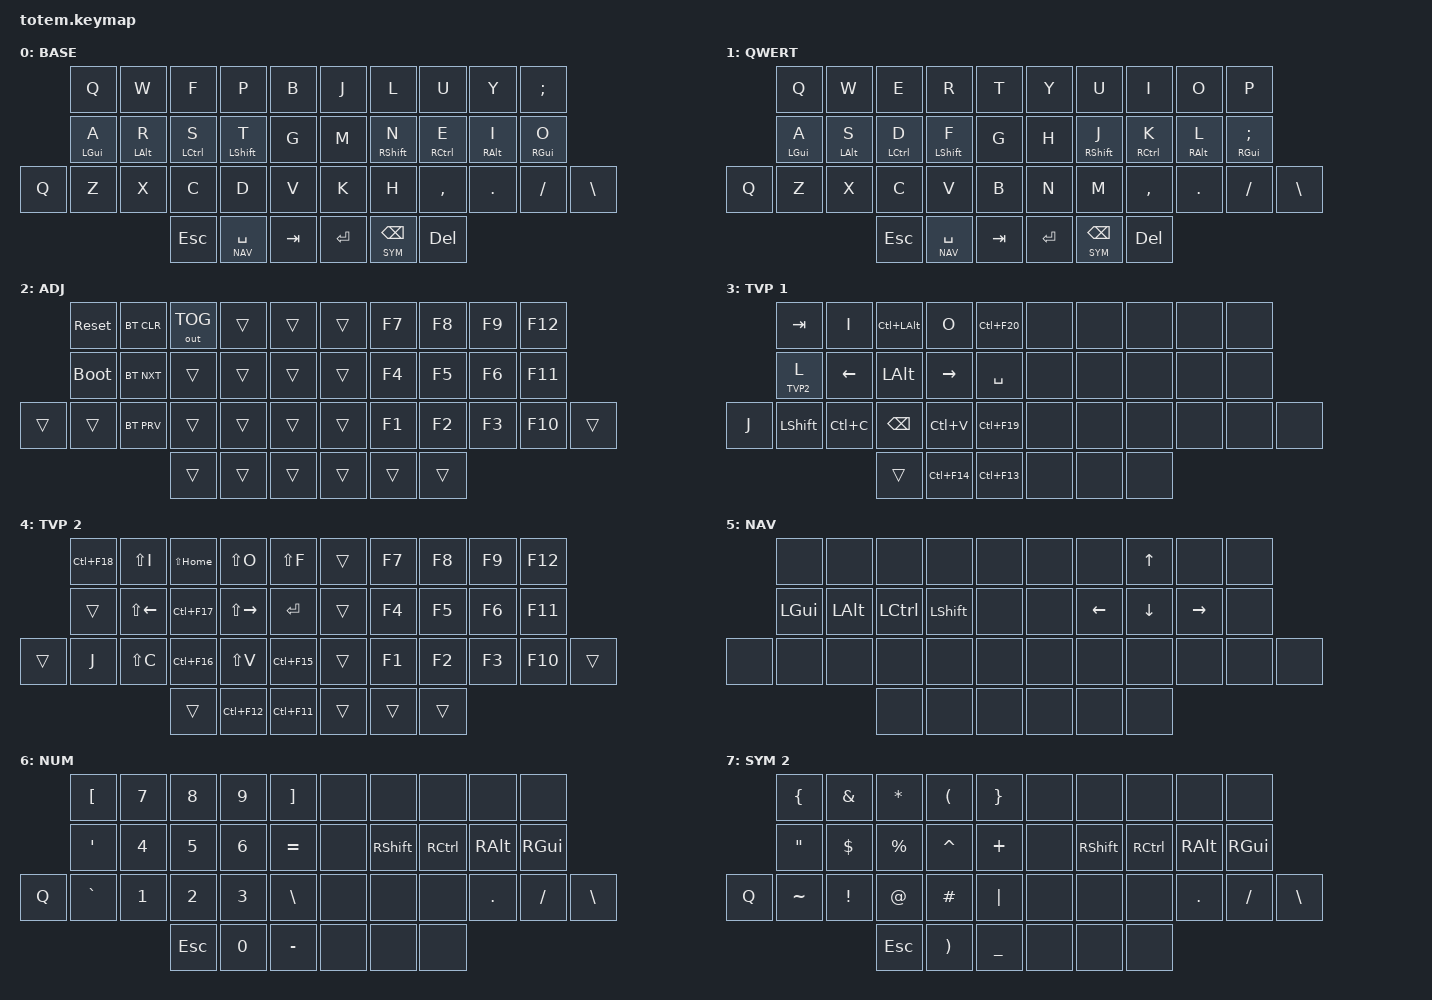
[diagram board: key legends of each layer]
//
//                                                        ▀▀▀▀▀     ▀▀▀▀▀          ▀▀█▀▀
//                                                        ▄▀▀▀▄  ▄  ▄▀▀▀▄  ▄  ▄▀▀▀▄  █  ▄▀▀▀▄
//                                                        █   █  █  █   █  █  █   █  █  █   █
//                                                         ▀▀▀   █   ▀▀▀   █   ▀▀▀   ▀   ▀▀▀
//                                                               █      ▄▄▄█▄▄▄    █   █  
//                                                               ▀      █  █  █     █▄█
//                                                             ▀▀▀▀▀    █  █  █      ▀
//                                                                      ▀  ▀  ▀
//
// ▄▄▄▄▄▄▄▄▄▄▄▄▄▄▄▄▄▄▄▄▄▄▄▄▄▄▄▄▄▄▄▄▄▄▄▄▄▄▄▄▄▄▄▄▄▄▄▄▄▄▄▄▄▄▄▄▄▄▄▄▄▄▄▄▄▄▄▄▄▄▄▄▄▄▄▄▄▄▄▄▄▄▄▄▄▄▄▄▄▄▄▄▄▄▄▄▄▄▄▄▄▄▄▄▄▄▄▄▄▄▄▄▄▄▄▄▄▄▄▄▄▄▄▄▄▄▄▄▄▄▄▄▄▄▄▄▄▄▄▄▄▄▄▄▄▄▄▄▄
       

#include <behaviors.dtsi>
#include <dt-bindings/zmk/keys.h>
#include <dt-bindings/zmk/bt.h>
#include <dt-bindings/zmk/outputs.h>

#define BASE 0
#define QWERT  1
#define ADJ  3
#define TVP1 4
#define TVP2 5
#define NAI  12
#define SYM2 13
#define NUM  14

&mt {
  quick-tap-ms = <100>;
  global-quick-tap;
  flavor = "tap-preferred";
  tapping-term-ms = <170>;
};

/ {
     combos {
            compatible = "zmk,combos";
            combo_esc {
                timeout-ms = <50>;
                key-positions = <0 1>;
                bindings = <&kp ESC>;
            };
            combo_tvp {
                timeout-ms = <100>;
                key-positions = <11 12 13>;
                bindings = <&tog TVP1>;
            };
    };

    macros {
        gif: gif {
            label = "giphy";
            compatible = "zmk,behavior-macro";
            #binding-cells = <0>;
            bindings
                = <&macro_press &kp LSHFT>
                , <&macro_tap &kp N2>
                , <&macro_release &kp LSHFT>
                , <&macro_tap &kp G &kp I &kp F>
                ;
        };
    };

        keymap {
                compatible = "zmk,keymap";
// ▄▄▄▄▄▄▄▄▄▄▄▄▄▄▄▄▄▄▄▄▄▄▄▄▄▄▄▄▄▄▄▄▄▄▄▄▄▄▄▄▄▄▄▄▄▄▄▄▄▄▄▄▄▄▄▄▄▄▄▄▄▄▄▄▄▄▄▄▄▄▄▄▄▄▄▄▄▄▄▄▄▄▄▄▄▄▄▄▄▄▄▄▄▄▄▄▄▄▄▄▄▄▄▄▄▄▄▄▄▄▄▄▄▄▄▄▄▄▄▄▄▄▄▄▄▄▄▄▄▄▄▄▄▄▄▄▄▄▄▄▄▄▄▄▄▄▄▄▄

                base_layer {
// ┏━━━━━━━━━━━━━━━━━━━━━━━━━━━━━━━━━━━━━━━┓
label= "BASE"                              ;
// ┗━━━━━━━━━━━━━━━━━━━━━━━━━━━━━━━━━━━━━━━┛
//             ┏━━━━━━━━━━━┳━━━━━━━━━━━┳━━━━━━━━━━━┳━━━━━━━━━━━┳━━━━━━━━━━━┓   ┏━━━━━━━━━━━┳━━━━━━━━━━━┳━━━━━━━━━━━┳━━━━━━━━━━━┳━━━━━━━━━━━┓
//             ┃     Q     ┃     W     ┃     F     ┃     P     ┃     B     ┃   ┃     J     ┃     L     ┃     U     ┃     Y     ┃     ;     ┃
//             ┣━━━━━━━━━━━╋━━━━━━━━━━━╋━━━━━━━━━━━╋━━━━━━━━━━━╋━━━━━━━━━━━┫   ┣━━━━━━━━━━━╋━━━━━━━━━━━╋━━━━━━━━━━━╋━━━━━━━━━━━╋━━━━━━━━━━━┫
//             ┃     A     ┃     R     ┃     S     ┃     T     ┃     G     ┃   ┃     M     ┃     N     ┃     E     ┃     I     ┃     O     ┃
// ┏━━━━━━━━━━━╋━━━━━━━━━━━╋━━━━━━━━━━━╋━━━━━━━━━━━╋━━━━━━━━━━━╋━━━━━━━━━━━┫   ┣━━━━━━━━━━━╋━━━━━━━━━━━╋━━━━━━━━━━━╋━━━━━━━━━━━╋━━━━━━━━━━━╋━━━━━━━━━━━┓
// ┃     Q     ┃     Z     ┃     X     ┃     C     ┃     D     ┃     V     ┃   ┃     K     ┃     H     ┃     ,     ┃     .     ┃     /     ┃     \     ┃
// ┗━━━━━━━━━━━┻━━━━━━━━━━━┻━━━━━━━━━━━╋━━━━━━━━━━━╋━━━━━━━━━━━╋━━━━━━━━━━━┫   ┣━━━━━━━━━━━╋━━━━━━━━━━━╋━━━━━━━━━━━╋━━━━━━━━━━━┻━━━━━━━━━━━┻━━━━━━━━━━━┛
//                                     ┃    ESC    ┃  SPC/NAV  ┃    TAB    ┃   ┃   ENTER   ┃ BSPC/NUM  ┃  DEL/SYM  ┃
//                                     ┗━━━━━━━━━━━┻━━━━━━━━━━━┻━━━━━━━━━━━┛   ┗━━━━━━━━━━━┻━━━━━━━━━━━┻━━━━━━━━━━━┛
 bindings = <
// ╷           ╷           ╷           ╷           ╷           ╷           ╷   ╷           ╷           ╷           ╷           ╷           ╷           ╷

                &kp Q       &kp W       &kp F       &kp P           &kp B        &kp J       &kp L          &kp U       &kp Y       &kp SEMI
                &mt LGUI A  &mt LALT R  &mt LCTRL S &mt LSHFT T     &kp G        &kp M       &mt RSHFT N    &mt RCTRL E &mt RALT I  &mt RGUI O
    &kp Q       &kp Z       &kp X       &kp C       &kp D           &kp V        &kp K       &kp H          &kp COMMA   &kp DOT     &kp FSLH    &kp BSLH
                                        &kp ESC     &lt NAV SPACE   &kp TAB      &kp ENTER   &lt SYM BSPC   &kp DEL
                        >;
                };

// ▄▄▄▄▄▄▄▄▄▄▄▄▄▄▄▄▄▄▄▄▄▄▄▄▄▄▄▄▄▄▄▄▄▄▄▄▄▄▄▄▄▄▄▄▄▄▄▄▄▄▄▄▄▄▄▄▄▄▄▄▄▄▄▄▄▄▄▄▄▄▄▄▄▄▄▄▄▄▄▄▄▄▄▄▄▄▄▄▄▄▄▄▄▄▄▄▄▄▄▄▄▄▄▄▄▄▄▄▄▄▄▄▄▄▄▄▄▄▄▄▄▄▄▄▄▄▄▄▄▄▄▄▄▄▄▄▄▄▄▄▄▄▄▄▄▄▄▄▄

                qwert_layer {
// ┏━━━━━━━━━━━━━━━━━━━━━━━━━━━━━━━━━━━━━━━┓
label= "QWERT"                              ;
// ┗━━━━━━━━━━━━━━━━━━━━━━━━━━━━━━━━━━━━━━━┛
//             ┏━━━━━━━━━━━┳━━━━━━━━━━━┳━━━━━━━━━━━┳━━━━━━━━━━━┳━━━━━━━━━━━┓   ┏━━━━━━━━━━━┳━━━━━━━━━━━┳━━━━━━━━━━━┳━━━━━━━━━━━┳━━━━━━━━━━━┓
//             ┃     Q     ┃     W     ┃     E     ┃     R     ┃     T     ┃   ┃     Y     ┃     U     ┃     I     ┃     O     ┃     P     ┃
//             ┣━━━━━━━━━━━╋━━━━━━━━━━━╋━━━━━━━━━━━╋━━━━━━━━━━━╋━━━━━━━━━━━┫   ┣━━━━━━━━━━━╋━━━━━━━━━━━╋━━━━━━━━━━━╋━━━━━━━━━━━╋━━━━━━━━━━━┫
//             ┃     A     ┃     S     ┃     D     ┃     F     ┃     G     ┃   ┃     H     ┃     J     ┃     K     ┃     L     ┃     ;     ┃
// ┏━━━━━━━━━━━╋━━━━━━━━━━━╋━━━━━━━━━━━╋━━━━━━━━━━━╋━━━━━━━━━━━╋━━━━━━━━━━━┫   ┣━━━━━━━━━━━╋━━━━━━━━━━━╋━━━━━━━━━━━╋━━━━━━━━━━━╋━━━━━━━━━━━╋━━━━━━━━━━━┓
// ┃     Q     ┃     Z     ┃     X     ┃     C     ┃     V     ┃     B     ┃   ┃     N     ┃     M     ┃     ,     ┃     .     ┃     /     ┃     \     ┃
// ┗━━━━━━━━━━━┻━━━━━━━━━━━┻━━━━━━━━━━━╋━━━━━━━━━━━╋━━━━━━━━━━━╋━━━━━━━━━━━┫   ┣━━━━━━━━━━━╋━━━━━━━━━━━╋━━━━━━━━━━━╋━━━━━━━━━━━┻━━━━━━━━━━━┻━━━━━━━━━━━┛
//                                     ┃    ESC    ┃    SPC    ┃    TAB    ┃   ┃   ENTER   ┃   BSPC    ┃    DEL    ┃
//                                     ┗━━━━━━━━━━━┻━━━━━━━━━━━┻━━━━━━━━━━━┛   ┗━━━━━━━━━━━┻━━━━━━━━━━━┻━━━━━━━━━━━┛
 bindings = <
// ╷           ╷           ╷           ╷           ╷           ╷           ╷   ╷           ╷           ╷           ╷           ╷           ╷           ╷

                &kp Q       &kp W       &kp E       &kp R           &kp T        &kp Y       &kp U          &kp I       &kp O       &kp P
                &mt LGUI A  &mt LALT S  &mt LCTRL D &mt LSHFT F     &kp G        &kp H       &mt RSHFT J    &mt RCTRL K &mt RALT L  &mt RGUI SEMI
    &kp Q       &kp Z       &kp X       &kp C       &kp V           &kp B        &kp N       &kp M          &kp COMMA   &kp DOT     &kp FSLH    &kp BSLH
                                        &kp ESC     &lt NAV SPACE   &kp TAB      &kp ENTER   &lt SYM BSPC   &kp DEL
                        >;
                };

// ▄▄▄▄▄▄▄▄▄▄▄▄▄▄▄▄▄▄▄▄▄▄▄▄▄▄▄▄▄▄▄▄▄▄▄▄▄▄▄▄▄▄▄▄▄▄▄▄▄▄▄▄▄▄▄▄▄▄▄▄▄▄▄▄▄▄▄▄▄▄▄▄▄▄▄▄▄▄▄▄▄▄▄▄▄▄▄▄▄▄▄▄▄▄▄▄▄▄▄▄▄▄▄▄▄▄▄▄▄▄▄▄▄▄▄▄▄▄▄▄▄▄▄▄▄▄▄▄▄▄▄▄▄▄▄▄▄▄▄▄▄▄▄▄▄▄▄▄▄

                adjust_layer {
// ┏━━━━━━━━━━━━━━━━━━━━━━━━━━━━━━━━━━━━━━━┓
label= "ADJ"                               ;
// ┗━━━━━━━━━━━━━━━━━━━━━━━━━━━━━━━━━━━━━━━┛
//             ┏━━━━━━━━━━━┳━━━━━━━━━━━┳━━━━━━━━━━━┳━━━━━━━━━━━┳━━━━━━━━━━━┓   ┏━━━━━━━━━━━┳━━━━━━━━━━━┳━━━━━━━━━━━┳━━━━━━━━━━━┳━━━━━━━━━━━┓
//             ┃   RESET   ┃ BT CLEAR  ┃  OUT TOG  ┃           ┃           ┃   ┃           ┃    F7     ┃    F8     ┃    F9     ┃    F12    ┃
//             ┣━━━━━━━━━━━╋━━━━━━━━━━━╋━━━━━━━━━━━╋━━━━━━━━━━━╋━━━━━━━━━━━┫   ┣━━━━━━━━━━━╋━━━━━━━━━━━╋━━━━━━━━━━━╋━━━━━━━━━━━╋━━━━━━━━━━━┫
//             ┃ BOOTLOAD  ┃ BT NEXT   ┃           ┃           ┃           ┃   ┃           ┃    F4     ┃    F5     ┃    F6     ┃    F11    ┃
// ┏━━━━━━━━━━━╋━━━━━━━━━━━╋━━━━━━━━━━━╋━━━━━━━━━━━╋━━━━━━━━━━━╋━━━━━━━━━━━┫   ┣━━━━━━━━━━━╋━━━━━━━━━━━╋━━━━━━━━━━━╋━━━━━━━━━━━╋━━━━━━━━━━━╋━━━━━━━━━━━┓
// ┃           ┃           ┃ BT PREV   ┃           ┃           ┃           ┃   ┃           ┃    F1     ┃    F2     ┃    F3     ┃    F10    ┃           ┃
// ┗━━━━━━━━━━━┻━━━━━━━━━━━┻━━━━━━━━━━━╋━━━━━━━━━━━╋━━━━━━━━━━━╋━━━━━━━━━━━┫   ┣━━━━━━━━━━━╋━━━━━━━━━━━╋━━━━━━━━━━━╋━━━━━━━━━━━┻━━━━━━━━━━━┻━━━━━━━━━━━┛
//                                     ┃           ┃           ┃           ┃   ┃           ┃           ┃           ┃
//                                     ┗━━━━━━━━━━━┻━━━━━━━━━━━┻━━━━━━━━━━━┛   ┗━━━━━━━━━━━┻━━━━━━━━━━━┻━━━━━━━━━━━┛
 bindings = <
// ╷           ╷           ╷           ╷           ╷           ╷           ╷   ╷           ╷           ╷           ╷           ╷           ╷           ╷

                &sys_reset  &bt BT_CLR &out OUT_TOG &trans      &trans          &trans      &kp F7      &kp F8      &kp F9      &kp F12
                &bootloader &bt BT_NXT  &trans      &trans      &trans          &trans      &kp F4      &kp F5      &kp F6      &kp F11  
    &trans      &trans      &bt BT_PRV  &trans      &trans      &trans          &trans      &kp F1      &kp F2      &kp F3      &kp F10     &trans         
                                        &trans      &trans      &trans          &trans      &trans      &trans      
                        >;
                };

// ▄▄▄▄▄▄▄▄▄▄▄▄▄▄▄▄▄▄▄▄▄▄▄▄▄▄▄▄▄▄▄▄▄▄▄▄▄▄▄▄▄▄▄▄▄▄▄▄▄▄▄▄▄▄▄▄▄▄▄▄▄▄▄▄▄▄▄▄▄▄▄▄▄▄▄▄▄▄▄▄▄▄▄▄▄▄▄▄▄▄▄▄▄▄▄▄▄▄▄▄▄▄▄▄▄▄▄▄▄▄▄▄▄▄▄▄▄▄▄▄▄▄▄▄▄▄▄▄▄▄▄▄▄▄▄▄▄▄▄▄▄▄▄▄▄▄▄▄▄

                tvp1_layer {
// ┏━━━━━━━━━━━━━━━━━━━━━━━━━━━━━━━━━━━━━━━┓
label= "TVP 1"                             ;
// ┗━━━━━━━━━━━━━━━━━━━━━━━━━━━━━━━━━━━━━━━┛
//             ┏━━━━━━━━━━━┳━━━━━━━━━━━┳━━━━━━━━━━━┳━━━━━━━━━━━┳━━━━━━━━━━━┓   ┏━━━━━━━━━━━┳━━━━━━━━━━━┳━━━━━━━━━━━┳━━━━━━━━━━━┳━━━━━━━━━━━┓
//             ┃ NEXT FILE ┃ MARK IN   ┃ ROTATE    ┃ MARK OUT  ┃ SHOW SNAP ┃   ┃           ┃           ┃           ┃           ┃           ┃
//             ┣━━━━━━━━━━━╋━━━━━━━━━━━╋━━━━━━━━━━━╋━━━━━━━━━━━╋━━━━━━━━━━━┫   ┣━━━━━━━━━━━╋━━━━━━━━━━━╋━━━━━━━━━━━╋━━━━━━━━━━━╋━━━━━━━━━━━┫
//             ┃ TVP II    ┃ LEFT      ┃ PAN       ┃ RIGHT     ┃ PLAY/FLIP ┃   ┃           ┃           ┃           ┃           ┃           ┃
// ┏━━━━━━━━━━━╋━━━━━━━━━━━╋━━━━━━━━━━━╋━━━━━━━━━━━╋━━━━━━━━━━━╋━━━━━━━━━━━┫   ┣━━━━━━━━━━━╋━━━━━━━━━━━╋━━━━━━━━━━━╋━━━━━━━━━━━╋━━━━━━━━━━━╋━━━━━━━━━━━┓
// ┃ FULLSCR   ┃ SHIFT     ┃ COPY      ┃ DELETE    ┃ PASTE     ┃ IMG MARK  ┃   ┃           ┃           ┃           ┃           ┃           ┃           ┃
// ┗━━━━━━━━━━━┻━━━━━━━━━━━┻━━━━━━━━━━━╋━━━━━━━━━━━╋━━━━━━━━━━━╋━━━━━━━━━━━┫   ┣━━━━━━━━━━━╋━━━━━━━━━━━╋━━━━━━━━━━━╋━━━━━━━━━━━┻━━━━━━━━━━━┻━━━━━━━━━━━┛
//                                     ┃           ┃ UNDO/SAVE ┃  SEL/MOV  ┃   ┃           ┃           ┃           ┃
//                                     ┗━━━━━━━━━━━┻━━━━━━━━━━━┻━━━━━━━━━━━┛   ┗━━━━━━━━━━━┻━━━━━━━━━━━┻━━━━━━━━━━━┛
 bindings = <
// ╷           ╷           ╷           ╷           ╷           ╷           ╷   ╷           ╷           ╷           ╷           ╷           ╷           ╷

                &kp TAB     &kp I       &kp LC(LALT) &kp O      &kp LC(F20)     &none       &none       &none       &none       &none
                &lt TVP2 L  &kp LEFT    &kp LALT    &kp RIGHT   &kp SPACE       &none       &none       &none       &none       &none
    &kp J       &kp LSHFT   &kp LC(C)   &kp BSPC    &kp LC(V)   &kp LC(F19)     &none       &none       &none       &none       &none       &none        
                                        &trans      &kp LC(F14) &kp LC(F13)     &none       &none       &none    
                        >;
                };

// ▄▄▄▄▄▄▄▄▄▄▄▄▄▄▄▄▄▄▄▄▄▄▄▄▄▄▄▄▄▄▄▄▄▄▄▄▄▄▄▄▄▄▄▄▄▄▄▄▄▄▄▄▄▄▄▄▄▄▄▄▄▄▄▄▄▄▄▄▄▄▄▄▄▄▄▄▄▄▄▄▄▄▄▄▄▄▄▄▄▄▄▄▄▄▄▄▄▄▄▄▄▄▄▄▄▄▄▄▄▄▄▄▄▄▄▄▄▄▄▄▄▄▄▄▄▄▄▄▄▄▄▄▄▄▄▄▄▄▄▄▄▄▄▄▄▄▄▄▄

                tvp2_layer {
// ┏━━━━━━━━━━━━━━━━━━━━━━━━━━━━━━━━━━━━━━━┓
label= "TVP 2"                             ;
// ┗━━━━━━━━━━━━━━━━━━━━━━━━━━━━━━━━━━━━━━━┛
//             ┏━━━━━━━━━━━┳━━━━━━━━━━━┳━━━━━━━━━━━┳━━━━━━━━━━━┳━━━━━━━━━━━┓   ┏━━━━━━━━━━━┳━━━━━━━━━━━┳━━━━━━━━━━━┳━━━━━━━━━━━┳━━━━━━━━━━━┓
//             ┃ SOLO      ┃ TOGGLE IN ┃ RESET ROT ┃ TOGGLE OUT┃ TAKE SNAP ┃   ┃           ┃           ┃           ┃           ┃           ┃
//             ┣━━━━━━━━━━━╋━━━━━━━━━━━╋━━━━━━━━━━━╋━━━━━━━━━━━╋━━━━━━━━━━━┫   ┣━━━━━━━━━━━╋━━━━━━━━━━━╋━━━━━━━━━━━╋━━━━━━━━━━━╋━━━━━━━━━━━┫
//             ┃ ---       ┃ LAST KEY  ┃ NEW KEY   ┃ NEXT KEY  ┃ ENTER     ┃   ┃           ┃           ┃           ┃           ┃           ┃
// ┏━━━━━━━━━━━╋━━━━━━━━━━━╋━━━━━━━━━━━╋━━━━━━━━━━━╋━━━━━━━━━━━╋━━━━━━━━━━━┫   ┣━━━━━━━━━━━╋━━━━━━━━━━━╋━━━━━━━━━━━╋━━━━━━━━━━━╋━━━━━━━━━━━╋━━━━━━━━━━━┓
// ┃           ┃ FULLSCR   ┃ CPY2BRUSH ┃ DEL HEAD  ┃ PSTinPLACE┃ BOOK MARK ┃   ┃           ┃           ┃           ┃           ┃           ┃           ┃
// ┗━━━━━━━━━━━┻━━━━━━━━━━━┻━━━━━━━━━━━╋━━━━━━━━━━━╋━━━━━━━━━━━╋━━━━━━━━━━━┫   ┣━━━━━━━━━━━╋━━━━━━━━━━━╋━━━━━━━━━━━╋━━━━━━━━━━━┻━━━━━━━━━━━┻━━━━━━━━━━━┛
//                                     ┃           ┃ REDO/SAV1 ┃TRANS/WARP ┃   ┃           ┃           ┃           ┃
//                                     ┗━━━━━━━━━━━┻━━━━━━━━━━━┻━━━━━━━━━━━┛   ┗━━━━━━━━━━━┻━━━━━━━━━━━┻━━━━━━━━━━━┛
 bindings = <
// ╷           ╷           ╷           ╷           ╷           ╷           ╷   ╷           ╷           ╷           ╷           ╷           ╷           ╷

                &kp LC(F18) &kp LS(I)  &kp LS(HOME) &kp LS(O)   &kp LS(F)       &trans      &kp F7      &kp F8      &kp F9      &kp F12
                &trans      &kp LS(LEFT) &kp LC(F17) &kp LS(RIGHT) &kp RET      &trans      &kp F4      &kp F5      &kp F6      &kp F11  
    &trans      &kp J       &kp LS(C)   &kp LC(F16) &kp LS(V)   &kp LC(F15)     &trans      &kp F1      &kp F2      &kp F3      &kp F10     &trans         
                                        &trans      &kp LC(F12) &kp LC(F11)     &trans      &trans      &trans      
                        >;
                };

  // ▄▄▄▄▄▄▄▄▄▄▄▄▄▄▄▄▄▄▄▄▄▄▄▄▄▄▄▄▄▄▄▄▄▄▄▄▄▄▄▄▄▄▄▄▄▄▄▄▄▄▄▄▄▄▄▄▄▄▄▄▄▄▄▄▄▄▄▄▄▄▄▄▄▄▄▄▄▄▄▄▄▄▄▄▄▄▄▄▄▄▄▄▄▄▄▄▄▄▄▄▄▄▄▄▄▄▄▄▄▄▄▄▄▄▄▄▄▄▄▄▄▄▄▄▄▄▄▄▄▄▄▄▄▄▄▄▄▄▄▄▄▄▄▄▄▄▄▄▄

                nav_layer {
// ┏━━━━━━━━━━━━━━━━━━━━━━━━━━━━━━━━━━━━━━━┓
label= "NAV"                               ;
// ┗━━━━━━━━━━━━━━━━━━━━━━━━━━━━━━━━━━━━━━━┛
//             ┏━━━━━━━━━━━┳━━━━━━━━━━━┳━━━━━━━━━━━┳━━━━━━━━━━━┳━━━━━━━━━━━┓   ┏━━━━━━━━━━━┳━━━━━━━━━━━┳━━━━━━━━━━━┳━━━━━━━━━━━┳━━━━━━━━━━━┓
//             ┃           ┃           ┃           ┃           ┃           ┃   ┃           ┃           ┃    UP     ┃           ┃           ┃
//             ┣━━━━━━━━━━━╋━━━━━━━━━━━╋━━━━━━━━━━━╋━━━━━━━━━━━╋━━━━━━━━━━━┫   ┣━━━━━━━━━━━╋━━━━━━━━━━━╋━━━━━━━━━━━╋━━━━━━━━━━━╋━━━━━━━━━━━┫
//             ┃   LGUI    ┃   LALT    ┃   LCTRL   ┃   LSHFT   ┃           ┃   ┃           ┃    LEFT   ┃   DOWN    ┃   RIGHT   ┃           ┃
// ┏━━━━━━━━━━━╋━━━━━━━━━━━╋━━━━━━━━━━━╋━━━━━━━━━━━╋━━━━━━━━━━━╋━━━━━━━━━━━┫   ┣━━━━━━━━━━━╋━━━━━━━━━━━╋━━━━━━━━━━━╋━━━━━━━━━━━╋━━━━━━━━━━━╋━━━━━━━━━━━┓
// ┃           ┃           ┃           ┃           ┃           ┃           ┃   ┃           ┃           ┃           ┃           ┃           ┃           ┃
// ┗━━━━━━━━━━━┻━━━━━━━━━━━┻━━━━━━━━━━━╋━━━━━━━━━━━╋━━━━━━━━━━━╋━━━━━━━━━━━┫   ┣━━━━━━━━━━━╋━━━━━━━━━━━╋━━━━━━━━━━━╋━━━━━━━━━━━┻━━━━━━━━━━━┻━━━━━━━━━━━┛
//                                     ┃           ┃           ┃           ┃   ┃           ┃           ┃           ┃
//                                     ┗━━━━━━━━━━━┻━━━━━━━━━━━┻━━━━━━━━━━━┛   ┗━━━━━━━━━━━┻━━━━━━━━━━━┻━━━━━━━━━━━┛
 bindings = <
// ╷           ╷           ╷           ╷           ╷           ╷           ╷   ╷           ╷           ╷           ╷           ╷           ╷           ╷

                &none       &none        &none        &none        &none        &none       &none       &kp UP      &none       &none
                &kp LGUI    &kp LALT     &kp LCTRL    &kp LSHFT    &none        &none       &kp LEFT    &kp DOWN    &kp RIGHT   &none
    &none       &none       &none        &none        &none        &none        &none       &none       &none       &none       &none       &none
                                         &none        &none        &none        &none       &none       &none
                        >;
                };

// ▄▄▄▄▄▄▄▄▄▄▄▄▄▄▄▄▄▄▄▄▄▄▄▄▄▄▄▄▄▄▄▄▄▄▄▄▄▄▄▄▄▄▄▄▄▄▄▄▄▄▄▄▄▄▄▄▄▄▄▄▄▄▄▄▄▄▄▄▄▄▄▄▄▄▄▄▄▄▄▄▄▄▄▄▄▄▄▄▄▄▄▄▄▄▄▄▄▄▄▄▄▄▄▄▄▄▄▄▄▄▄▄▄▄▄▄▄▄▄▄▄▄▄▄▄▄▄▄▄▄▄▄▄▄▄▄▄▄▄▄▄▄▄▄▄▄▄▄▄

                num_layer {
// ┏━━━━━━━━━━━━━━━━━━━━━━━━━━━━━━━━━━━━━━━┓
label= "NUM"                               ;
// ┗━━━━━━━━━━━━━━━━━━━━━━━━━━━━━━━━━━━━━━━┛
//             ┏━━━━━━━━━━━┳━━━━━━━━━━━┳━━━━━━━━━━━┳━━━━━━━━━━━┳━━━━━━━━━━━┓   ┏━━━━━━━━━━━┳━━━━━━━━━━━┳━━━━━━━━━━━┳━━━━━━━━━━━┳━━━━━━━━━━━┓
//             ┃     [     ┃     7     ┃     8     ┃     9     ┃     ]     ┃   ┃           ┃           ┃           ┃           ┃           ┃
//             ┣━━━━━━━━━━━╋━━━━━━━━━━━╋━━━━━━━━━━━╋━━━━━━━━━━━╋━━━━━━━━━━━┫   ┣━━━━━━━━━━━╋━━━━━━━━━━━╋━━━━━━━━━━━╋━━━━━━━━━━━╋━━━━━━━━━━━┫
//             ┃     '     ┃     4     ┃     5     ┃     6     ┃     =     ┃   ┃           ┃   RSHFT   ┃   RCTRL   ┃    RALT   ┃    RGUI   ┃
// ┏━━━━━━━━━━━╋━━━━━━━━━━━╋━━━━━━━━━━━╋━━━━━━━━━━━╋━━━━━━━━━━━╋━━━━━━━━━━━┫   ┣━━━━━━━━━━━╋━━━━━━━━━━━╋━━━━━━━━━━━╋━━━━━━━━━━━╋━━━━━━━━━━━╋━━━━━━━━━━━┓
// ┃     Q     ┃     `     ┃     1     ┃     2     ┃     3     ┃     \     ┃   ┃           ┃           ┃     ,     ┃     .     ┃     /     ┃     \     ┃
// ┗━━━━━━━━━━━┻━━━━━━━━━━━┻━━━━━━━━━━━╋━━━━━━━━━━━╋━━━━━━━━━━━╋━━━━━━━━━━━┫   ┣━━━━━━━━━━━╋━━━━━━━━━━━╋━━━━━━━━━━━╋━━━━━━━━━━━┻━━━━━━━━━━━┻━━━━━━━━━━━┛
//                                     ┃    ESC    ┃     0     ┃     -     ┃   ┃           ┃           ┃           ┃
//                                     ┗━━━━━━━━━━━┻━━━━━━━━━━━┻━━━━━━━━━━━┛   ┗━━━━━━━━━━━┻━━━━━━━━━━━┻━━━━━━━━━━━┛
 bindings = <
// ╷           ╷           ╷           ╷           ╷           ╷           ╷   ╷           ╷           ╷           ╷           ╷           ╷           ╷

                &kp LBKT    &kp N7  &kp N8    &kp N9     &kp RBKT       &none      &none       &none       &none       &none
                &kp APOS    &kp N4  &kp N5    &kp N6     &kp EQUAL      &none      &kp RSHFT   &kp RCTRL   &kp RALT    &kp RGUI
    &kp Q       &kp GRAVE   &kp N1  &kp N2    &kp N3     &kp BSLH       &none      &none       &none       &kp DOT     &kp FSLH    &kp BSLH
                                        &kp ESC     &kp N0        &kp MINUS      &none      &none       &none
                        >;
                };

// ▄▄▄▄▄▄▄▄▄▄▄▄▄▄▄▄▄▄▄▄▄▄▄▄▄▄▄▄▄▄▄▄▄▄▄▄▄▄▄▄▄▄▄▄▄▄▄▄▄▄▄▄▄▄▄▄▄▄▄▄▄▄▄▄▄▄▄▄▄▄▄▄▄▄▄▄▄▄▄▄▄▄▄▄▄▄▄▄▄▄▄▄▄▄▄▄▄▄▄▄▄▄▄▄▄▄▄▄▄▄▄▄▄▄▄▄▄▄▄▄▄▄▄▄▄▄▄▄▄▄▄▄▄▄▄▄▄▄▄▄▄▄▄▄▄▄▄▄▄

                sym2_layer {
// ┏━━━━━━━━━━━━━━━━━━━━━━━━━━━━━━━━━━━━━━━┓
label= "SYM 2"                             ;
// ┗━━━━━━━━━━━━━━━━━━━━━━━━━━━━━━━━━━━━━━━┛
//             ┏━━━━━━━━━━━┳━━━━━━━━━━━┳━━━━━━━━━━━┳━━━━━━━━━━━┳━━━━━━━━━━━┓   ┏━━━━━━━━━━━┳━━━━━━━━━━━┳━━━━━━━━━━━┳━━━━━━━━━━━┳━━━━━━━━━━━┓
//             ┃     {     ┃     &     ┃     *     ┃     (     ┃     }     ┃   ┃           ┃           ┃           ┃           ┃           ┃
//             ┣━━━━━━━━━━━╋━━━━━━━━━━━╋━━━━━━━━━━━╋━━━━━━━━━━━╋━━━━━━━━━━━┫   ┣━━━━━━━━━━━╋━━━━━━━━━━━╋━━━━━━━━━━━╋━━━━━━━━━━━╋━━━━━━━━━━━┫
//             ┃     "     ┃     $     ┃     %     ┃     ^     ┃     +     ┃   ┃           ┃   RSHFT   ┃   RCTRL   ┃    RALT   ┃    RGUI   ┃
// ┏━━━━━━━━━━━╋━━━━━━━━━━━╋━━━━━━━━━━━╋━━━━━━━━━━━╋━━━━━━━━━━━╋━━━━━━━━━━━┫   ┣━━━━━━━━━━━╋━━━━━━━━━━━╋━━━━━━━━━━━╋━━━━━━━━━━━╋━━━━━━━━━━━╋━━━━━━━━━━━┓
// ┃     Q     ┃     ~     ┃     !     ┃     @     ┃     #     ┃     |     ┃   ┃           ┃           ┃     ,     ┃     .     ┃     /     ┃     \     ┃
// ┗━━━━━━━━━━━┻━━━━━━━━━━━┻━━━━━━━━━━━╋━━━━━━━━━━━╋━━━━━━━━━━━╋━━━━━━━━━━━┫   ┣━━━━━━━━━━━╋━━━━━━━━━━━╋━━━━━━━━━━━╋━━━━━━━━━━━┻━━━━━━━━━━━┻━━━━━━━━━━━┛
//                                     ┃    ESC    ┃     )     ┃     _     ┃   ┃           ┃           ┃           ┃
//                                     ┗━━━━━━━━━━━┻━━━━━━━━━━━┻━━━━━━━━━━━┛   ┗━━━━━━━━━━━┻━━━━━━━━━━━┻━━━━━━━━━━━┛
 bindings = <
// ╷           ╷           ╷           ╷           ╷           ╷           ╷   ╷           ╷           ╷           ╷           ╷           ╷           ╷

                &kp LBRC    &kp AMPS  &kp ASTRK    &kp LPAR     &kp RBRC       &none      &none       &none       &none       &none
                &kp DQT     &kp DLLR  &kp PRCNT    &kp CARET    &kp PLUS       &none      &kp RSHFT   &kp RCTRL   &kp RALT    &kp RGUI
    &kp Q       &kp TILDE   &kp EXCL  &kp AT       &kp HASH     &kp PIPE       &none      &none       &none       &kp DOT     &kp FSLH    &kp BSLH
                                      &kp ESC     &kp RPAR      &kp UNDER      &none      &none       &none
                        >;
                }

        };
};
